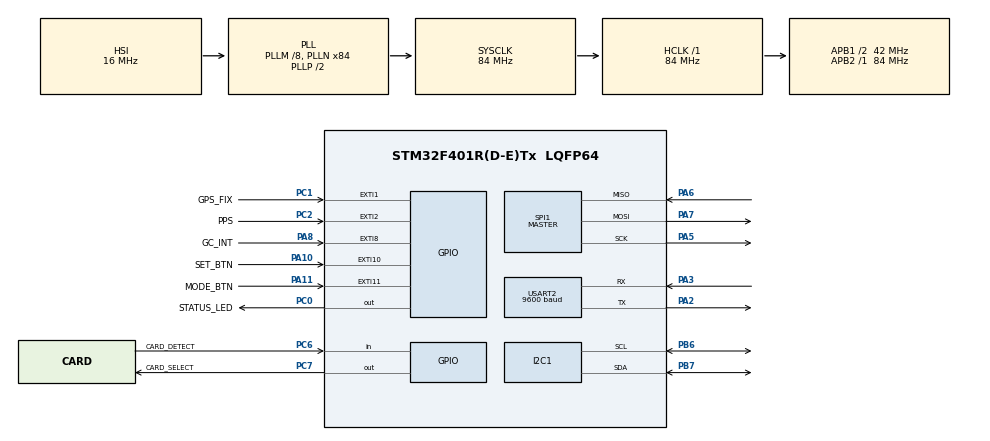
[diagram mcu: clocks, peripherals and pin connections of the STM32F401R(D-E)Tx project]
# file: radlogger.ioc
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FATFS._MAX_SS=4096
FATFS._USE_LFN=1
I2C1.I2C_Mode=I2C_Fast
Mcu.Family=STM32F4
Mcu.Name=STM32F401R(D-E)Tx
Mcu.Package=LQFP64
NVIC.EXTI15_10_IRQn=true\:0\:0\:false\:false\:true\:true\:true
NVIC.EXTI1_IRQn=true\:0\:0\:false\:false\:true\:true\:true
NVIC.EXTI2_IRQn=true\:0\:0\:false\:false\:true\:true\:true
NVIC.EXTI9_5_IRQn=true\:0\:0\:false\:false\:true\:true\:true
NVIC.PriorityGroup=NVIC_PRIORITYGROUP_4
NVIC.TIM1_UP_TIM10_IRQn=true\:0\:0\:false\:false\:true\:true\:true
NVIC.USART2_IRQn=true\:0\:0\:false\:false\:true\:true\:true
PA10.GPIO_Label=SET_BTN
PA10.GPIO_ModeDefaultEXTI=GPIO_MODE_IT_FALLING
PA10.GPIO_PuPd=GPIO_PULLUP
PA10.Signal=GPXTI10
PA11.GPIO_Label=MODE_BTN
PA11.GPIO_ModeDefaultEXTI=GPIO_MODE_IT_FALLING
PA11.GPIO_PuPd=GPIO_PULLUP
PA11.Signal=GPXTI11
PA13.Mode=Serial_Wire
PA13.Signal=SYS_JTMS-SWDIO
PA14.Mode=Serial_Wire
PA14.Signal=SYS_JTCK-SWCLK
PA2.Mode=Asynchronous
PA2.Signal=USART2_TX
PA3.Mode=Asynchronous
PA3.Signal=USART2_RX
PA5.Mode=Full_Duplex_Master
PA5.Signal=SPI1_SCK
PA6.Mode=Full_Duplex_Master
PA6.Signal=SPI1_MISO
PA7.Mode=Full_Duplex_Master
PA7.Signal=SPI1_MOSI
PA8.GPIO_Label=GC_INT
PA8.GPIO_PuPd=GPIO_PULLUP
PA8.Signal=GPXTI8
PB3.Signal=SYS_JTDO-SWO
PB6.Mode=I2C
PB6.Signal=I2C1_SCL
PB7.Mode=I2C
PB7.Signal=I2C1_SDA
PC0.GPIO_Label=STATUS_LED
PC0.Signal=GPIO_Output
PC1.GPIO_Label=GPS_FIX
PC1.GPIO_ModeDefaultEXTI=GPIO_MODE_IT_RISING_FALLING
PC1.GPIO_PuPd=GPIO_PULLDOWN
PC1.Signal=GPXTI1
PC2.GPIO_Label=PPS
PC2.GPIO_PuPd=GPIO_PULLDOWN
PC2.Signal=GPXTI2
PC6.GPIO_Label=CARD_DETECT
PC6.GPIO_PuPd=GPIO_PULLDOWN
PC6.Signal=GPIO_Input
PC7.GPIO_Label=CARD_SELECT
PC7.Signal=GPIO_Output
ProjectManager.HeapSize=0x200
ProjectManager.StackSize=0x400
ProjectManager.TargetToolchain=STM32CubeIDE
RCC.48MHZClocksFreq_Value=42000000
RCC.AHBFreq_Value=84000000
RCC.APB1CLKDivider=RCC_HCLK_DIV2
RCC.APB1Freq_Value=42000000
RCC.APB1TimFreq_Value=84000000
RCC.APB2Freq_Value=84000000
RCC.APB2TimFreq_Value=84000000
RCC.CortexFreq_Value=84000000
RCC.HCLKFreq_Value=84000000
RCC.HSE_VALUE=25000000
RCC.HSI_VALUE=16000000
RCC.LSE_VALUE=32768
RCC.PLLM=8
RCC.PLLN=84
RCC.SYSCLKFreq_VALUE=84000000
RCC.SYSCLKSource=RCC_SYSCLKSOURCE_PLLCLK
RCC.VCOOutputFreq_Value=168000000
SPI1.BaudRatePrescaler=SPI_BAUDRATEPRESCALER_8
SPI1.Direction=SPI_DIRECTION_2LINES
SPI1.Mode=SPI_MODE_MASTER
SPI1.VirtualType=VM_MASTER
TIM10.Period=62499
TIM10.Prescaler=1343
USART2.BaudRate=9600
USART2.VirtualMode=VM_ASYNC
VP_FATFS_VS_Generic.Mode=User_defined
VP_TIM10_VS_ClockSourceINT.Mode=Enable_Timer
board=custom

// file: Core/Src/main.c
/* USER CODE BEGIN Header */
/**
 ******************************************************************************
 * @file           : main.c
 * @brief          : Main program body
 ******************************************************************************
 * @attention
 *
 * <h2><center>&copy; Copyright (c) 2019 STMicroelectronics.
 * All rights reserved.</center></h2>
 *
 * This software component is licensed by ST under BSD 3-Clause license,
 * the "License"; You may not use this file except in compliance with the
 * License. You may obtain a copy of the License at:
 *                        opensource.org/licenses/BSD-3-Clause
 *
 ******************************************************************************
 */
/* USER CODE END Header */

#include "main.h"
#include "fatfs.h"

/* USER CODE BEGIN Includes */
#include "ssd1306.h"
#include "fonts.h"
#include "GPS.h"
#include "fatfs_sd.h"
#include <stdio.h>
#include <math.h>
/* USER CODE END Includes */

/* USER CODE BEGIN PD */
#define LOG_PERIOD 10000
#define MAX_LOG_PERIOD 60000
#define MULTIPLIER MAX_LOG_PERIOD/LOG_PERIOD
#define CONVERSION_FACTOR 0.006315
/* USER CODE END PD */

I2C_HandleTypeDef hi2c1;

SPI_HandleTypeDef hspi1;

TIM_HandleTypeDef htim10;

UART_HandleTypeDef huart2;

/* USER CODE BEGIN PV */
uint16_t cpm, gcTicks = 0;
float microSievert;

typedef enum {OFF, PRESSED} btn_t;
btn_t modeBtn = OFF;
btn_t setBtn = OFF;

typedef enum {RADIATION, TIMEDATE, GPSINFO, ALL, SETTIMEZONE, STANDBY} screenMode_t;
screenMode_t mode = RADIATION;

int8_t utcHOffset = 1;
uint32_t secTick = 0;
uint8_t hour = 0, minute = 0, second = 0;

char screenText[64];
/* USER CODE END PV */

void SystemClock_Config(void);
static void MX_GPIO_Init(void);
static void MX_I2C1_Init(void);
static void MX_SPI1_Init(void);
static void MX_TIM10_Init(void);
static void MX_USART2_UART_Init(void);
/* USER CODE BEGIN PFP */
void geigerCounter();
void readgpsTime();
void setTimeZone();

void radiationScreen();
void timedateScreen();
void gpsinfoScreen();
void generalScreen();
void standBy();

/* USER CODE END PFP */

int main(void)
{

  /* MCU Configuration--------------------------------------------------------*/

  /* Reset of all peripherals, Initializes the Flash interface and the Systick. */
  HAL_Init();

  /* Configure the system clock */
  SystemClock_Config();

  /* Initialize all configured peripherals */
  MX_GPIO_Init();
  MX_I2C1_Init();
  MX_SPI1_Init();
  MX_TIM10_Init();
  MX_USART2_UART_Init();
  MX_FATFS_Init();
  /* USER CODE BEGIN 2 */

	GPS_Init();
	SSD1306_Init();

	SSD1306_Fill (0);  // fill display with black color

	SSD1306_GotoXY (1, 30);
	SSD1306_Puts ("Initializing", &Font_7x10, 1);
	SSD1306_UpdateScreen ();  // update display
  /* USER CODE END 2 */

  /* Infinite loop */
  /* USER CODE BEGIN WHILE */
	while (1)
	{
		geigerCounter(); // read radiation sensor
		GPS_Process(); // read and parse data from GPS
		readgpsTime(); // read and parse time from GPS data
		switch(mode){
		case ALL:
			generalScreen();
			if(setBtn == PRESSED){
				setBtn = OFF;
			}
			if(modeBtn == PRESSED){
				modeBtn = OFF;
				mode = RADIATION;
			}
			break;
		case RADIATION:
			radiationScreen();

			if(setBtn == PRESSED){
				setBtn = OFF;
			}
			if(modeBtn == PRESSED){
				modeBtn = OFF;
				mode = TIMEDATE;
			}
			break;
		case TIMEDATE:
			timedateScreen();

			if(setBtn == PRESSED){
				setBtn = OFF;
				mode = SETTIMEZONE;
			}
			if(modeBtn == PRESSED){
				modeBtn = OFF;
				mode = GPSINFO;
			}
			break;

		case GPSINFO:
			gpsinfoScreen();

			if(setBtn == PRESSED){
				setBtn = OFF;
			}
			if(modeBtn == PRESSED){
				modeBtn = OFF;
				mode = STANDBY;
			}
			break;

		case STANDBY:
			standBy();

			mode = ALL;
			break;

		case SETTIMEZONE:
			setTimeZone();

			mode = RADIATION;
			break;
		}
    /* USER CODE END WHILE */

    /* USER CODE BEGIN 3 */
		HAL_Delay(1000);
	}
  /* USER CODE END 3 */
}

void SystemClock_Config(void)
{
  RCC_OscInitTypeDef RCC_OscInitStruct = {0};
  RCC_ClkInitTypeDef RCC_ClkInitStruct = {0};

  /** Configure the main internal regulator output voltage
  */
  __HAL_RCC_PWR_CLK_ENABLE();
  __HAL_PWR_VOLTAGESCALING_CONFIG(PWR_REGULATOR_VOLTAGE_SCALE2);
  /** Initializes the CPU, AHB and APB busses clocks
  */
  RCC_OscInitStruct.OscillatorType = RCC_OSCILLATORTYPE_HSI;
  RCC_OscInitStruct.HSIState = RCC_HSI_ON;
  RCC_OscInitStruct.HSICalibrationValue = RCC_HSICALIBRATION_DEFAULT;
  RCC_OscInitStruct.PLL.PLLState = RCC_PLL_ON;
  RCC_OscInitStruct.PLL.PLLSource = RCC_PLLSOURCE_HSI;
  RCC_OscInitStruct.PLL.PLLM = 8;
  RCC_OscInitStruct.PLL.PLLN = 84;
  RCC_OscInitStruct.PLL.PLLP = RCC_PLLP_DIV2;
  RCC_OscInitStruct.PLL.PLLQ = 4;
  if (HAL_RCC_OscConfig(&RCC_OscInitStruct) != HAL_OK)
  {
    Error_Handler();
  }
  /** Initializes the CPU, AHB and APB busses clocks
  */
  RCC_ClkInitStruct.ClockType = RCC_CLOCKTYPE_HCLK|RCC_CLOCKTYPE_SYSCLK
                              |RCC_CLOCKTYPE_PCLK1|RCC_CLOCKTYPE_PCLK2;
  RCC_ClkInitStruct.SYSCLKSource = RCC_SYSCLKSOURCE_PLLCLK;
  RCC_ClkInitStruct.AHBCLKDivider = RCC_SYSCLK_DIV1;
  RCC_ClkInitStruct.APB1CLKDivider = RCC_HCLK_DIV2;
  RCC_ClkInitStruct.APB2CLKDivider = RCC_HCLK_DIV1;

  if (HAL_RCC_ClockConfig(&RCC_ClkInitStruct, FLASH_LATENCY_2) != HAL_OK)
  {
    Error_Handler();
  }
}

static void MX_I2C1_Init(void)
{

  hi2c1.Instance = I2C1;
  hi2c1.Init.ClockSpeed = 400000;
  hi2c1.Init.DutyCycle = I2C_DUTYCYCLE_2;
  hi2c1.Init.OwnAddress1 = 0;
  hi2c1.Init.AddressingMode = I2C_ADDRESSINGMODE_7BIT;
  hi2c1.Init.DualAddressMode = I2C_DUALADDRESS_DISABLE;
  hi2c1.Init.OwnAddress2 = 0;
  hi2c1.Init.GeneralCallMode = I2C_GENERALCALL_DISABLE;
  hi2c1.Init.NoStretchMode = I2C_NOSTRETCH_DISABLE;
  if (HAL_I2C_Init(&hi2c1) != HAL_OK)
  {
    Error_Handler();
  }

}

static void MX_SPI1_Init(void)
{

  /* SPI1 parameter configuration*/
  hspi1.Instance = SPI1;
  hspi1.Init.Mode = SPI_MODE_MASTER;
  hspi1.Init.Direction = SPI_DIRECTION_2LINES;
  hspi1.Init.DataSize = SPI_DATASIZE_8BIT;
  hspi1.Init.CLKPolarity = SPI_POLARITY_LOW;
  hspi1.Init.CLKPhase = SPI_PHASE_1EDGE;
  hspi1.Init.NSS = SPI_NSS_SOFT;
  hspi1.Init.BaudRatePrescaler = SPI_BAUDRATEPRESCALER_8;
  hspi1.Init.FirstBit = SPI_FIRSTBIT_MSB;
  hspi1.Init.TIMode = SPI_TIMODE_DISABLE;
  hspi1.Init.CRCCalculation = SPI_CRCCALCULATION_DISABLE;
  hspi1.Init.CRCPolynomial = 10;
  if (HAL_SPI_Init(&hspi1) != HAL_OK)
  {
    Error_Handler();
  }

}

static void MX_TIM10_Init(void)
{

  htim10.Instance = TIM10;
  htim10.Init.Prescaler = 1343;
  htim10.Init.CounterMode = TIM_COUNTERMODE_UP;
  htim10.Init.Period = 62499;
  htim10.Init.ClockDivision = TIM_CLOCKDIVISION_DIV1;
  htim10.Init.AutoReloadPreload = TIM_AUTORELOAD_PRELOAD_DISABLE;
  if (HAL_TIM_Base_Init(&htim10) != HAL_OK)
  {
    Error_Handler();
  }

}

static void MX_USART2_UART_Init(void)
{

  huart2.Instance = USART2;
  huart2.Init.BaudRate = 9600;
  huart2.Init.WordLength = UART_WORDLENGTH_8B;
  huart2.Init.StopBits = UART_STOPBITS_1;
  huart2.Init.Parity = UART_PARITY_NONE;
  huart2.Init.Mode = UART_MODE_TX_RX;
  huart2.Init.HwFlowCtl = UART_HWCONTROL_NONE;
  huart2.Init.OverSampling = UART_OVERSAMPLING_16;
  if (HAL_UART_Init(&huart2) != HAL_OK)
  {
    Error_Handler();
  }

}

static void MX_GPIO_Init(void)
{
  GPIO_InitTypeDef GPIO_InitStruct = {0};

  /* GPIO Ports Clock Enable */
  __HAL_RCC_GPIOC_CLK_ENABLE();
  __HAL_RCC_GPIOA_CLK_ENABLE();
  __HAL_RCC_GPIOB_CLK_ENABLE();

  /*Configure GPIO pin Output Level */
  HAL_GPIO_WritePin(GPIOC, STATUS_LED_Pin|CARD_SELECT_Pin, GPIO_PIN_RESET);

  /*Configure GPIO pins : STATUS_LED_Pin CARD_SELECT_Pin */
  GPIO_InitStruct.Pin = STATUS_LED_Pin|CARD_SELECT_Pin;
  GPIO_InitStruct.Mode = GPIO_MODE_OUTPUT_PP;
  GPIO_InitStruct.Pull = GPIO_NOPULL;
  GPIO_InitStruct.Speed = GPIO_SPEED_FREQ_LOW;
  HAL_GPIO_Init(GPIOC, &GPIO_InitStruct);

  /*Configure GPIO pin : GPS_FIX_Pin */
  GPIO_InitStruct.Pin = GPS_FIX_Pin;
  GPIO_InitStruct.Mode = GPIO_MODE_IT_RISING_FALLING;
  GPIO_InitStruct.Pull = GPIO_PULLDOWN;
  HAL_GPIO_Init(GPS_FIX_GPIO_Port, &GPIO_InitStruct);

  /*Configure GPIO pin : PPS_Pin */
  GPIO_InitStruct.Pin = PPS_Pin;
  GPIO_InitStruct.Mode = GPIO_MODE_IT_RISING;
  GPIO_InitStruct.Pull = GPIO_PULLDOWN;
  HAL_GPIO_Init(PPS_GPIO_Port, &GPIO_InitStruct);

  /*Configure GPIO pin : CARD_DETECT_Pin */
  GPIO_InitStruct.Pin = CARD_DETECT_Pin;
  GPIO_InitStruct.Mode = GPIO_MODE_INPUT;
  GPIO_InitStruct.Pull = GPIO_PULLDOWN;
  HAL_GPIO_Init(CARD_DETECT_GPIO_Port, &GPIO_InitStruct);

  /*Configure GPIO pin : GC_INT_Pin */
  GPIO_InitStruct.Pin = GC_INT_Pin;
  GPIO_InitStruct.Mode = GPIO_MODE_IT_RISING;
  GPIO_InitStruct.Pull = GPIO_PULLUP;
  HAL_GPIO_Init(GC_INT_GPIO_Port, &GPIO_InitStruct);

  /*Configure GPIO pins : SET_BTN_Pin MODE_BTN_Pin */
  GPIO_InitStruct.Pin = SET_BTN_Pin|MODE_BTN_Pin;
  GPIO_InitStruct.Mode = GPIO_MODE_IT_FALLING;
  GPIO_InitStruct.Pull = GPIO_PULLUP;
  HAL_GPIO_Init(GPIOA, &GPIO_InitStruct);

  /* EXTI interrupt init*/
  HAL_NVIC_SetPriority(EXTI1_IRQn, 0, 0);
  HAL_NVIC_EnableIRQ(EXTI1_IRQn);

  HAL_NVIC_SetPriority(EXTI2_IRQn, 0, 0);
  HAL_NVIC_EnableIRQ(EXTI2_IRQn);

  HAL_NVIC_SetPriority(EXTI9_5_IRQn, 0, 0);
  HAL_NVIC_EnableIRQ(EXTI9_5_IRQn);

  HAL_NVIC_SetPriority(EXTI15_10_IRQn, 0, 0);
  HAL_NVIC_EnableIRQ(EXTI15_10_IRQn);

}

/* USER CODE BEGIN 4 */
void HAL_GPIO_EXTI_Callback(uint16_t GPIO_Pin){
	if(GPIO_Pin == GC_INT_Pin){
		gcTicks++;
	}
	if(GPIO_Pin == MODE_BTN_Pin){
		modeBtn = PRESSED;
	}
	if(GPIO_Pin == SET_BTN_Pin){
		setBtn = PRESSED;
	}
	if(GPIO_Pin == GPS_FIX_Pin)
		HAL_GPIO_TogglePin(STATUS_LED_GPIO_Port, STATUS_LED_Pin); // status led shows GPS fix status
}

void HAL_UART_RxCpltCallback(UART_HandleTypeDef *huart){
	GPS_CallBack();
}

void HAL_TIM_PeriodElapsedCallback(TIM_HandleTypeDef *htim){
	if (htim == &htim10)
		secTick++;
}

void geigerCounter(){
	uint32_t currentTick = HAL_GetTick();
	static uint32_t previousTick = 0;

	if (currentTick - previousTick > LOG_PERIOD){
		previousTick = currentTick;
		cpm = gcTicks * MULTIPLIER;
		microSievert = cpm * CONVERSION_FACTOR;
		gcTicks = 0;
	}
}

void readgpsTime(){
	int8_t tmpHour = (GPS.GPRMC.UTC_Hour + utcHOffset);

	if(tmpHour < 0)
		hour = 24 + tmpHour;
	else if(tmpHour > 23)
		hour = 0 + tmpHour;
	else
		hour = tmpHour;

	minute = GPS.GPRMC.UTC_Min;
	second = GPS.GPRMC.UTC_Sec;
}

void setTimeZone(){
	HAL_TIM_Base_Start_IT(&htim10);
	SSD1306_Clear();
	SSD1306_GotoXY(10, 20);
	sprintf(screenText, "UTC%+d", utcHOffset);
	SSD1306_Puts(screenText, &Font_16x26, 1);
	SSD1306_UpdateScreen();

	while (secTick < 10){
		if (modeBtn == PRESSED){
			modeBtn = OFF;
			HAL_TIM_Base_Stop_IT(&htim10);
			secTick = 0;
			return;
		}

		if(setBtn == PRESSED){

			setBtn = OFF;
			utcHOffset++;
			if(utcHOffset > 12 && utcHOffset > -12)
				utcHOffset = -12;
			if(utcHOffset < -12)
				utcHOffset = 12;

			SSD1306_Clear();
			SSD1306_GotoXY(10, 20);
			sprintf(screenText, "UTC%+d", utcHOffset);
			SSD1306_Puts(screenText, &Font_16x26, 1);
			SSD1306_UpdateScreen();
			secTick = 0;
		}

		HAL_Delay(500);
	}
	HAL_TIM_Base_Stop_IT(&htim10);
	secTick = 0;
}

void radiationScreen(){
	SSD1306_Clear();
	sprintf(screenText, "CPM:%d", cpm);
	SSD1306_GotoXY(1, 1);
	SSD1306_Puts(screenText, &Font_16x26, 1);
	sprintf(screenText, "uSv/h:%0.3f", microSievert);
	SSD1306_GotoXY(1, 30);
	SSD1306_Puts(screenText, &Font_11x18, 1);
	SSD1306_DrawLine(1, 51, 128, 51, 1);
	sprintf(screenText, "Time: %02d:%02d:%02d", hour, minute, second);
	SSD1306_GotoXY(1, 53);
	SSD1306_Puts(screenText, &Font_7x10, 1);
	SSD1306_UpdateScreen();
}

void timedateScreen(){

	SSD1306_Clear();
	sprintf(screenText, "UTC%+d", utcHOffset);
	SSD1306_GotoXY(1, 1);
	SSD1306_Puts(screenText, &Font_11x18, 1);
	sprintf(screenText, "%02d:%02d:%02d", hour, minute, second);
	SSD1306_GotoXY(1, 17);
	SSD1306_Puts(screenText, &Font_11x18, 1);
	sprintf(screenText, "%02d-%02d-20%02d", GPS.GPRMC.Date, GPS.GPRMC.Month, GPS.GPRMC.Year);
	SSD1306_GotoXY(1, 32);
	SSD1306_Puts(screenText, &Font_11x18, 1);
	SSD1306_DrawLine(1, 51, 128, 51, 1);
	sprintf(screenText, "uSv/h: %0.3f", microSievert);
	SSD1306_GotoXY(1, 53);
	SSD1306_Puts(screenText, &Font_7x10, 1);
	SSD1306_UpdateScreen();
}

void gpsinfoScreen(){
	SSD1306_Clear();
	sprintf(screenText, "Lat:  %c%f", GPS.GPGGA.NS_Indicator, GPS.GPGGA.LatitudeDecimal);
	SSD1306_GotoXY(1, 1);
	SSD1306_Puts(screenText, &Font_7x10, 1);
	sprintf(screenText, "Long: %c%f", GPS.GPGGA.EW_Indicator, GPS.GPGGA.LongitudeDecimal);
	SSD1306_GotoXY(1, 10);
	SSD1306_Puts(screenText, &Font_7x10, 1);
	sprintf(screenText, "Sats: %d", GPS.GPGGA.SatellitesUsed);
	SSD1306_GotoXY(1, 20);
	SSD1306_Puts(screenText, &Font_7x10, 1);
	switch(GPS.GPGGA.PositionFixIndicator){
	default:
		SSD1306_GotoXY(1, 30);
		SSD1306_Puts("Fix:  N/A", &Font_7x10, 1);
		break;
	case 1:
		SSD1306_GotoXY(1, 30);
		SSD1306_Puts("Fix:  2D", &Font_7x10, 1);
		break;
	case 2:
		SSD1306_GotoXY(1, 30);
		SSD1306_Puts("Fix:  3D", &Font_7x10, 1);
	}
	sprintf(screenText, "Speed:%0.1f km/h", GPS.GPRMC.GroundSpeed * 1.852011);
	SSD1306_GotoXY(1, 40);
	SSD1306_Puts(screenText, &Font_7x10, 1);
	SSD1306_DrawLine(1, 51, 128, 51, 1);
	sprintf(screenText, "uSv/h: %0.3f", microSievert);
	SSD1306_GotoXY(1, 53);
	SSD1306_Puts(screenText, &Font_7x10, 1);
	SSD1306_UpdateScreen();
}

void generalScreen(){
	SSD1306_Clear();
	sprintf(screenText, "CPM:  %d", cpm);
	SSD1306_GotoXY(1, 1);
	SSD1306_Puts(screenText, &Font_7x10, 1);
	sprintf(screenText, "Time: %02d:%02d:%02d", hour, minute, second);
	SSD1306_GotoXY(1, 10);
	SSD1306_Puts(screenText, &Font_7x10, 1);
	sprintf(screenText, "Lat:  %c%f", GPS.GPGGA.NS_Indicator, GPS.GPGGA.LatitudeDecimal);
	SSD1306_GotoXY(1, 20);
	SSD1306_Puts(screenText, &Font_7x10, 1);
	sprintf(screenText, "Long: %c%f", GPS.GPGGA.EW_Indicator, GPS.GPGGA.LongitudeDecimal);
	SSD1306_GotoXY(1, 30);
	SSD1306_Puts(screenText, &Font_7x10, 1);
	SSD1306_DrawLine(1, 51, 128, 51, 1);
	sprintf(screenText, "uSv/h: %0.3f", microSievert);
	SSD1306_GotoXY(1, 53);
	SSD1306_Puts(screenText, &Font_7x10, 1);
	SSD1306_UpdateScreen();
}

void standBy(){
	SSD1306_Clear();
	SSD1306_GotoXY(20, 20);
	SSD1306_Puts("Entering", &Font_11x18, 1);
	SSD1306_GotoXY(25, 40);
	SSD1306_Puts("standby", &Font_11x18, 1);
	SSD1306_UpdateScreen();

	HAL_TIM_Base_Start_IT(&htim10);
	while(secTick<6){
		if(setBtn == PRESSED){
			setBtn = OFF;
			HAL_TIM_Base_Stop_IT(&htim10);
			secTick = 0;
			return;
		}

		if(modeBtn == PRESSED){
			modeBtn = OFF;
			HAL_TIM_Base_Stop_IT(&htim10);
			secTick = 0;
			return;
		}
	}
	HAL_TIM_Base_Stop_IT(&htim10);
	secTick = 0;
	SSD1306_Clear();
	while(1){
		if(setBtn == PRESSED){
			setBtn = OFF;
			break;
		}

		if(modeBtn == PRESSED){
			modeBtn = OFF;
			break;
		}
	}
}

/* USER CODE END 4 */

void Error_Handler(void)
{
}

/************************ (C) COPYRIGHT STMicroelectronics *****END OF FILE****/
